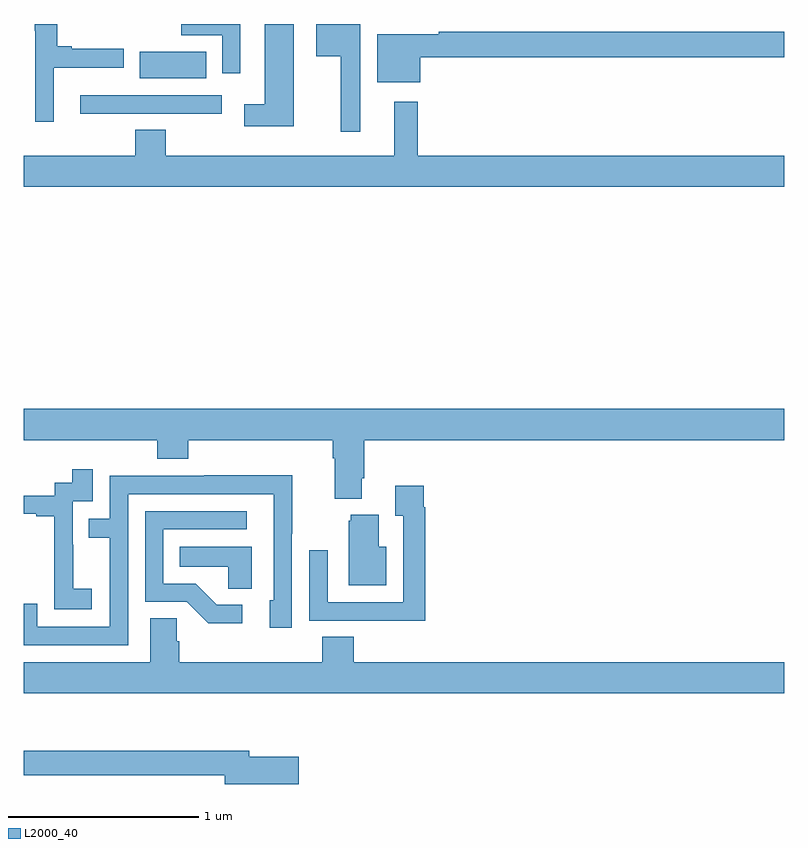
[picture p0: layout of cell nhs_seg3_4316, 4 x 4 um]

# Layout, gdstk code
import gdstk
lib = gdstk.Library(unit=1e-6, precision=1e-09)
def R(c, l, rs):  # rectangles x0, y0, x1, y1
    for r in rs: c.add(gdstk.rectangle(r[:2], r[2:], *l))
def P(c, l, *ps):  # polygons
    for p in ps: c.add(gdstk.Polygon(p, *l))
L2000_40 = (2000, 40)

nhs_seg3_4316 = lib.new_cell('nhs_seg3_4316')
R(nhs_seg3_4316, L2000_40, [(339.61,740.114,339.959,740.254)])
P(nhs_seg3_4316, L2000_40, [(340.14,740.4),(339.828,740.4),(339.828,740.342),(340.044,740.342),(340.044,740.142),(340.14,740.142)],
  [(339.157,740.171),(339.525,740.171),(339.525,740.271),(339.253,740.271),(339.253,740.284),(339.176,740.284),(339.176,740.4),(339.059,740.4),(339.059,740.365),(339.06,740.365),(339.06,739.887),(339.157,739.887)],
  [(340.771,740.4),(340.538,740.4),(340.538,740.231),(340.667,740.231),(340.667,739.833),(340.771,739.833)],
  [(340.42,740.4),(340.268,740.4),(340.268,739.979),(340.161,739.979),(340.161,739.862),(340.42,739.862)],
  [(341.086,740.224),(343,740.224),(343,740.36),(341.182,740.36),(341.182,740.347),(340.859,740.347),(340.859,740.093),(341.086,740.093)],
  [(340.042,740.025),(339.516,740.025),(339.516,740.026),(339.297,740.026),(339.297,739.929),(340.042,739.929)],
  [(343,739.708),(341.071,739.708),(341.071,739.99),(340.949,739.99),(340.949,739.708),(339.747,739.708),(339.747,739.844),(339.587,739.844),(339.587,739.708),(339,739.708),(339,739.544),(343,739.544)],
  [(340.777,738.01),(340.79,738.01),(340.79,738.212),(343,738.212),(343,738.376),(339,738.376),(339,738.212),(339.701,738.212),(339.701,738.113),(339.866,738.113),(339.866,738.212),(340.625,738.212),(340.625,738.116),(340.637,738.116),(340.637,737.903),(340.777,737.903)],
  [(339.358,737.431),(339.26,737.431),(339.26,737.66),(339.258,737.66),(339.258,737.889),(339.363,737.889),(339.363,738.058),(339.255,738.058),(339.255,737.988),(339.162,737.988),(339.162,737.919),(339,737.919),(339,737.823),(339.065,737.823),(339.065,737.811),(339.161,737.811),(339.161,737.527),(339.16,737.527),(339.16,737.321),(339.358,737.321)],
  [(339.549,737.928),(340.314,737.928),(340.314,737.37),(340.295,737.37),(340.295,737.226),(340.41,737.226),(340.41,737.719),(340.413,737.719),(340.413,738.026),(339.949,738.026),(339.949,738.024),(339.453,738.024),(339.453,737.799),(339.343,737.799),(339.343,737.698),(339.453,737.698),(339.453,737.229),(339.072,737.229),(339.072,737.352),(339,737.352),(339,737.133),(339.549,737.133)],
  [(341.111,737.858),(341.104,737.858),(341.104,737.971),(340.955,737.971),(340.955,737.815),(340.995,737.815),(340.995,737.358),(340.599,737.358),(340.599,737.632),(340.503,737.632),(340.503,737.262),(340.819,737.262),(340.819,737.261),(341.111,737.261)],
  [(340.15,737.346),(340.015,737.346),(339.904,737.457),(339.735,737.457),(339.735,737.742),(340.174,737.742),(340.174,737.838),(339.639,737.838),(339.639,737.361),(339.858,737.361),(339.971,737.249),(340.15,737.249)],
  [(340.906,737.65),(340.867,737.65),(340.867,737.818),(340.721,737.818),(340.721,737.787),(340.709,737.787),(340.709,737.447),(340.906,737.447)],
  [(340.198,737.65),(339.82,737.65),(339.82,737.546),(340.077,737.546),(340.077,737.431),(340.198,737.431)],
  [(343,737.044),(340.736,737.044),(340.736,737.177),(340.571,737.177),(340.571,737.044),(339.818,737.044),(339.818,737.153),(339.804,737.153),(339.804,737.276),(339.665,737.276),(339.665,737.044),(339,737.044),(339,736.88),(343,736.88)],
  [(340.447,736.545),(340.186,736.545),(340.186,736.579),(339,736.579),(339,736.45),(340.058,736.45),(340.058,736.403),(340.447,736.403)])

lib.write_gds('nhs_seg3_4316.gds')
